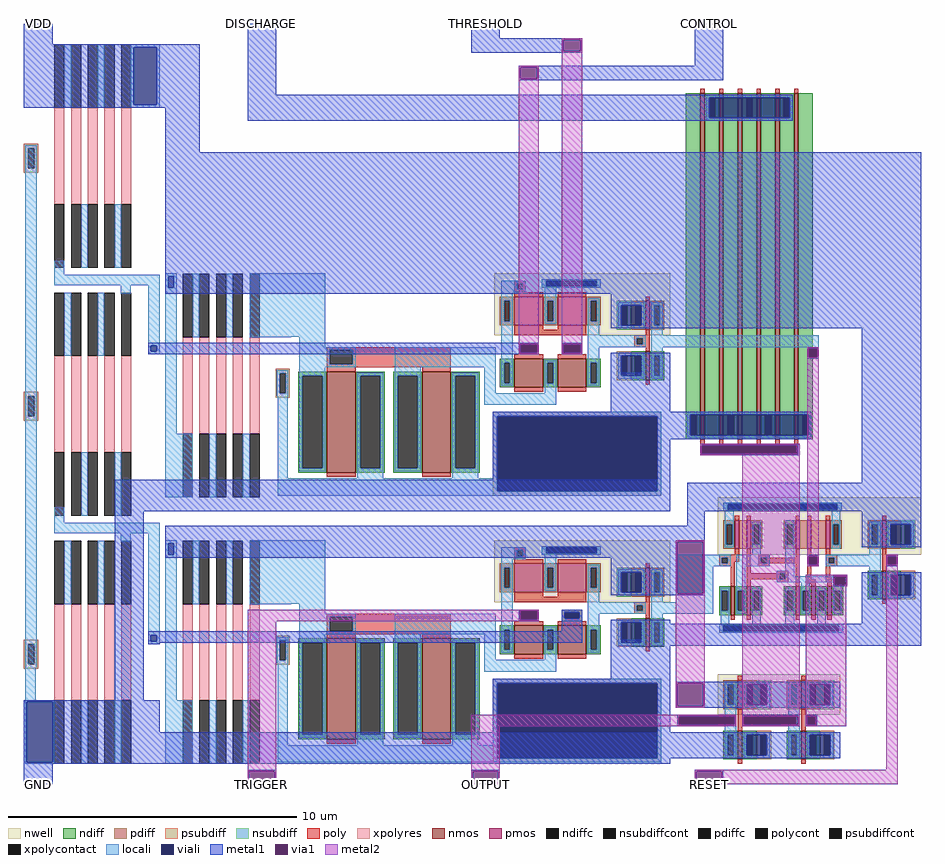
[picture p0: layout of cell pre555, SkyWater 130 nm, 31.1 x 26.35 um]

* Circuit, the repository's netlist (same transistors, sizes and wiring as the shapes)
* NGSPICE file created from pre555.ext - technology: sky130A

.subckt res100k bot top GND
X0 a_0_668# bot GND sky130_fd_pr__res_xhigh_po_0p35 l=3.5
X1 top a_348_n440# GND sky130_fd_pr__res_xhigh_po_0p35 l=3.5
X2 a_0_668# a_116_n440# GND sky130_fd_pr__res_xhigh_po_0p35 l=3.5
X3 a_232_668# a_116_n440# GND sky130_fd_pr__res_xhigh_po_0p35 l=3.5
X4 a_232_668# a_348_n440# GND sky130_fd_pr__res_xhigh_po_0p35 l=3.5
.ends

.subckt vdiv v1t v2t VDD GND
Xres100k_0[0] GND v1t GND res100k
Xres100k_0[1] v1t v2t GND res100k
Xres100k_0[2] v2t VDD GND res100k
.ends

.subckt inverter a y VDD GND
X0 y a VDD VDD sky130_fd_pr__pfet_01v8 ad=0.5 pd=3 as=0.5 ps=3 w=1 l=0.15
X1 y a GND GND sky130_fd_pr__nfet_01v8 ad=0.5 pd=3 as=0.5 ps=3 w=1 l=0.15
.ends

.subckt comp inn inp inverter_0/y VDD GND
Xinverter_0 inverter_0/a inverter_0/y VDD GND inverter
Xres100k_0 res100k_0/bot VDD GND res100k
X0 VDD a_2200_760# a_2200_760# VDD sky130_fd_pr__pfet_01v8 ad=0.25 pd=1.5 as=0.5 ps=3 w=1 l=1
X1 GND res100k_0/bot a_1460_170# GND sky130_fd_pr__nfet_01v8 ad=3.5 pd=9 as=3.5 ps=9 w=3.5 l=1
X2 inverter_0/a a_2200_760# VDD VDD sky130_fd_pr__pfet_01v8 ad=0.5 pd=3 as=0.25 ps=1.5 w=1 l=1
X3 GND res100k_0/bot res100k_0/bot GND sky130_fd_pr__nfet_01v8 ad=3.5 pd=9 as=3.5 ps=9 w=3.5 l=1
X4 a_1460_170# inn a_2200_760# GND sky130_fd_pr__nfet_01v8 ad=0.25 pd=1.5 as=0.5 ps=3 w=1 l=1
X5 inverter_0/a inp a_1460_170# GND sky130_fd_pr__nfet_01v8 ad=0.5 pd=3 as=0.25 ps=1.5 w=1 l=1
.ends

.subckt sr_latch s r0 r1 q VDD GND
X0 q a_30_n110# GND GND sky130_fd_pr__nfet_01v8 ad=0.2 pd=1.4 as=0.4 ps=2.8 w=1 l=0.15
X1 GND r0 q GND sky130_fd_pr__nfet_01v8 ad=0.2 pd=1.4 as=0.2 ps=1.4 w=1 l=0.15
X2 a_30_n110# s GND GND sky130_fd_pr__nfet_01v8 ad=0.2 pd=1.4 as=0.4 ps=2.8 w=1 l=0.15
X3 a_30_n110# q a_60_350# VDD sky130_fd_pr__pfet_01v8 ad=0.4 pd=2.8 as=0.125 ps=1.25 w=1 l=0.15
X4 a_480_350# a_30_n110# q VDD sky130_fd_pr__pfet_01v8 ad=0.125 pd=1.25 as=0.4 ps=2.8 w=1 l=0.15
X5 a_60_350# s VDD VDD sky130_fd_pr__pfet_01v8 ad=0.125 pd=1.25 as=0.4 ps=2.8 w=1 l=0.15
X6 VDD r1 a_560_350# VDD sky130_fd_pr__pfet_01v8 ad=0.4 pd=2.8 as=0.25 ps=1.5 w=1 l=0.15
X7 GND q a_30_n110# GND sky130_fd_pr__nfet_01v8 ad=0.4 pd=2.8 as=0.2 ps=1.4 w=1 l=0.15
X8 q r1 GND GND sky130_fd_pr__nfet_01v8 ad=0.4 pd=2.8 as=0.2 ps=1.4 w=1 l=0.15
X9 a_560_350# r0 a_480_350# VDD sky130_fd_pr__pfet_01v8 ad=0.25 pd=1.5 as=0.125 ps=1.25 w=1 l=0.15
.ends

*.subckt pre555 GND TRIGGER OUTPUT RESET VDD DISCHARGE THRESHOLD CONTROL
Xvdiv_0 vdiv_0/v1t CONTROL VDD GND vdiv
Xinverter_0 sr_latch_0/q inverter_1/a VDD GND inverter
Xinverter_1 inverter_1/a OUTPUT VDD GND inverter
Xcomp_0 TRIGGER vdiv_0/v1t sr_latch_0/s VDD GND comp
Xinverter_2 RESET inverter_2/y VDD GND inverter
Xcomp_1 CONTROL THRESHOLD sr_latch_0/r0 VDD GND comp
Xsr_latch_0 sr_latch_0/s sr_latch_0/r0 inverter_2/y sr_latch_0/q VDD GND sr_latch
X0 DISCHARGE inverter_1/a GND GND sky130_fd_pr__nfet_01v8 ad=3 pd=12.5 as=3 ps=12.5 w=12 l=0.15
X1 GND inverter_1/a DISCHARGE GND sky130_fd_pr__nfet_01v8 ad=3 pd=12.5 as=3 ps=12.5 w=12 l=0.15
X2 GND inverter_1/a DISCHARGE GND sky130_fd_pr__nfet_01v8 ad=3 pd=12.5 as=3 ps=12.5 w=12 l=0.15
X3 DISCHARGE inverter_1/a GND GND sky130_fd_pr__nfet_01v8 ad=3 pd=12.5 as=6 ps=25 w=12 l=0.15
X4 GND inverter_1/a DISCHARGE GND sky130_fd_pr__nfet_01v8 ad=6 pd=25 as=3 ps=12.5 w=12 l=0.15
X5 DISCHARGE inverter_1/a GND GND sky130_fd_pr__nfet_01v8 ad=3 pd=12.5 as=3 ps=12.5 w=12 l=0.15
*.ends

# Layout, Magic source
magic
tech sky130A
<< nwell >>
rect 2855 835 3110 925
rect 2855 725 2910 835
rect 2405 170 2830 310
<< nmos >>
rect 2345 1125 2360 2325
rect 2410 1125 2425 2325
rect 2475 1125 2490 2325
rect 2540 1125 2555 2325
rect 2605 1125 2620 2325
rect 2670 1125 2685 2325
<< ndiff >>
rect 2295 1210 2345 2325
rect 2295 1140 2310 1210
rect 2330 1140 2345 1210
rect 2295 1125 2345 1140
rect 2360 2310 2410 2325
rect 2360 2240 2375 2310
rect 2395 2240 2410 2310
rect 2360 1125 2410 2240
rect 2425 1210 2475 2325
rect 2425 1140 2440 1210
rect 2460 1140 2475 1210
rect 2425 1125 2475 1140
rect 2490 2310 2540 2325
rect 2490 2240 2505 2310
rect 2525 2240 2540 2310
rect 2490 1125 2540 2240
rect 2555 1210 2605 2325
rect 2555 1140 2570 1210
rect 2590 1140 2605 1210
rect 2555 1125 2605 1140
rect 2620 2310 2670 2325
rect 2620 2240 2635 2310
rect 2655 2240 2670 2310
rect 2620 1125 2670 2240
rect 2685 1210 2735 2325
rect 2685 1140 2700 1210
rect 2720 1140 2735 1210
rect 2685 1125 2735 1140
<< ndiffc >>
rect 2310 1140 2330 1210
rect 2375 2240 2395 2310
rect 2440 1140 2460 1210
rect 2505 2240 2525 2310
rect 2570 1140 2590 1210
rect 2635 2240 2655 2310
rect 2700 1140 2720 1210
<< poly >>
rect 2345 2325 2360 2340
rect 2410 2325 2425 2340
rect 2475 2325 2490 2340
rect 2540 2325 2555 2340
rect 2605 2325 2620 2340
rect 2670 2325 2685 2340
rect 2345 1110 2360 1125
rect 2410 1110 2425 1125
rect 2475 1110 2490 1125
rect 2540 1110 2555 1125
rect 2605 1110 2620 1125
rect 2670 1110 2685 1125
rect 2345 1100 2685 1110
rect 2345 1080 2355 1100
rect 2675 1080 2685 1100
rect 2345 1070 2685 1080
<< polycont >>
rect 2355 1080 2675 1100
<< locali >>
rect 2365 2310 2665 2320
rect 2365 2240 2375 2310
rect 2655 2240 2665 2310
rect 2365 2230 2665 2240
rect 430 1450 470 1695
rect 430 1430 440 1450
rect 460 1430 470 1450
rect 2240 1445 2755 1485
rect 2715 1435 2755 1445
rect 430 1420 470 1430
rect 2715 1415 2725 1435
rect 2745 1415 2755 1435
rect 2715 1405 2755 1415
rect 2300 1210 2730 1220
rect 2300 1140 2310 1210
rect 2720 1140 2730 1210
rect 2300 1130 2730 1140
rect 2345 1100 2685 1110
rect 2345 1080 2355 1100
rect 2675 1080 2685 1100
rect 2345 1070 2685 1080
rect 430 445 470 835
rect 2260 685 2410 725
rect 2820 685 2905 725
rect 2260 560 2390 685
rect 2805 645 2855 655
rect 2805 625 2815 645
rect 2845 625 2855 645
rect 2805 615 2855 625
rect 2240 520 2390 560
rect 430 425 440 445
rect 460 425 470 445
rect 430 415 470 425
rect 2265 160 2405 170
rect 2530 160 2625 170
rect 2265 140 2275 160
rect 2265 130 2405 140
rect 2530 130 2625 140
<< viali >>
rect 2375 2240 2395 2310
rect 2395 2240 2505 2310
rect 2505 2240 2525 2310
rect 2525 2240 2635 2310
rect 2635 2240 2655 2310
rect 440 1430 460 1450
rect 1725 1430 1775 1450
rect 1875 1430 1925 1450
rect 2725 1415 2745 1435
rect 2310 1140 2330 1210
rect 2330 1140 2440 1210
rect 2440 1140 2460 1210
rect 2460 1140 2570 1210
rect 2570 1140 2590 1210
rect 2590 1140 2700 1210
rect 2700 1140 2720 1210
rect 2355 1080 2675 1100
rect 2725 695 2745 715
rect 3000 695 3020 715
rect 2815 625 2845 645
rect 1725 505 1775 525
rect 1875 505 1925 525
rect 440 425 460 445
rect 2275 140 2460 160
rect 2500 140 2675 160
rect 2720 140 2740 160
<< metal1 >>
rect 0 2495 100 2565
rect 465 2275 610 2495
rect 490 2120 610 2275
rect 775 2320 875 2565
rect 1550 2515 1650 2565
rect 1550 2510 1935 2515
rect 1550 2470 1870 2510
rect 1930 2470 1935 2510
rect 1550 2465 1935 2470
rect 2325 2420 2425 2565
rect 1715 2415 2425 2420
rect 1715 2375 1720 2415
rect 1780 2375 2425 2415
rect 1715 2370 2425 2375
rect 775 2310 2665 2320
rect 775 2240 2375 2310
rect 2655 2240 2665 2310
rect 775 2230 2665 2240
rect 490 1630 3110 2120
rect 2240 1510 3110 1630
rect 430 1455 1785 1460
rect 430 1450 1720 1455
rect 430 1430 440 1450
rect 460 1430 1720 1450
rect 430 1425 1720 1430
rect 1780 1425 1785 1455
rect 430 1420 1785 1425
rect 1865 1455 1935 1460
rect 1865 1425 1870 1455
rect 1930 1425 1935 1455
rect 1865 1420 1935 1425
rect 2715 1440 2755 1445
rect 2715 1410 2720 1440
rect 2750 1410 2755 1440
rect 2715 1405 2755 1410
rect 2225 1210 2730 1220
rect 2225 1140 2310 1210
rect 2720 1140 2730 1210
rect 2225 1125 2730 1140
rect 2345 1105 2685 1110
rect 2345 1075 2350 1105
rect 2680 1075 2685 1105
rect 2345 1070 2685 1075
rect 315 875 2240 985
rect 2905 975 3110 1510
rect 2300 875 3110 975
rect 315 220 415 875
rect 2300 825 2360 875
rect 2905 835 3110 875
rect 490 770 2360 825
rect 490 715 2265 770
rect 2240 590 2265 715
rect 2355 590 2360 770
rect 2715 720 2755 725
rect 2715 690 2720 720
rect 2750 690 2755 720
rect 2715 685 2755 690
rect 2990 720 3030 725
rect 2990 690 2995 720
rect 3025 690 3030 720
rect 2990 685 3030 690
rect 2805 650 2855 655
rect 2805 620 2810 650
rect 2850 620 2855 650
rect 2805 615 2855 620
rect 2240 585 2360 590
rect 1715 530 1785 535
rect 1715 500 1720 530
rect 1780 500 1785 530
rect 1715 495 1785 500
rect 1865 525 1935 535
rect 1865 505 1875 525
rect 1925 505 1935 525
rect 1865 460 1935 505
rect 2905 485 3110 580
rect 430 445 1935 460
rect 430 425 440 445
rect 460 425 1935 445
rect 430 420 1935 425
rect 430 415 470 420
rect 2240 410 3110 485
rect 2260 280 2415 285
rect 2260 200 2265 280
rect 2355 200 2415 280
rect 2260 195 2415 200
rect 2610 195 2625 285
rect 2265 165 2470 170
rect 2265 135 2270 165
rect 2465 135 2470 165
rect 2265 130 2470 135
rect 2490 165 2690 170
rect 2490 135 2495 165
rect 2685 135 2690 165
rect 2490 130 2690 135
rect 2710 165 2750 170
rect 2710 135 2715 165
rect 2745 135 2750 165
rect 2710 130 2750 135
rect 455 60 2405 110
rect 445 20 2405 60
rect 2610 20 2625 110
rect 445 0 2240 20
rect 0 -70 100 0
rect 775 -25 875 -20
rect 775 -65 780 -25
rect 870 -65 875 -25
rect 775 -70 875 -65
rect 1550 -25 1650 -20
rect 1550 -65 1555 -25
rect 1645 -65 1650 -25
rect 1550 -70 1650 -65
rect 2325 -25 2425 -20
rect 2325 -65 2330 -25
rect 2420 -65 2425 -25
rect 2325 -70 2425 -65
<< via1 >>
rect 1870 2470 1930 2510
rect 1720 2375 1780 2415
rect 1720 1450 1780 1455
rect 1720 1430 1725 1450
rect 1725 1430 1775 1450
rect 1775 1430 1780 1450
rect 1720 1425 1780 1430
rect 1870 1450 1930 1455
rect 1870 1430 1875 1450
rect 1875 1430 1925 1450
rect 1925 1430 1930 1450
rect 1870 1425 1930 1430
rect 2720 1435 2750 1440
rect 2720 1415 2725 1435
rect 2725 1415 2745 1435
rect 2745 1415 2750 1435
rect 2720 1410 2750 1415
rect 2350 1100 2680 1105
rect 2350 1080 2355 1100
rect 2355 1080 2675 1100
rect 2675 1080 2680 1100
rect 2350 1075 2680 1080
rect 2265 590 2355 770
rect 2720 715 2750 720
rect 2720 695 2725 715
rect 2725 695 2745 715
rect 2745 695 2750 715
rect 2720 690 2750 695
rect 2995 715 3025 720
rect 2995 695 3000 715
rect 3000 695 3020 715
rect 3020 695 3025 715
rect 2995 690 3025 695
rect 2810 645 2850 650
rect 2810 625 2815 645
rect 2815 625 2845 645
rect 2845 625 2850 645
rect 2810 620 2850 625
rect 1720 525 1780 530
rect 1720 505 1725 525
rect 1725 505 1775 525
rect 1775 505 1780 525
rect 1720 500 1780 505
rect 2265 200 2355 280
rect 2270 160 2465 165
rect 2270 140 2275 160
rect 2275 140 2460 160
rect 2460 140 2465 160
rect 2270 135 2465 140
rect 2495 160 2685 165
rect 2495 140 2500 160
rect 2500 140 2675 160
rect 2675 140 2685 160
rect 2495 135 2685 140
rect 2715 160 2745 165
rect 2715 140 2720 160
rect 2720 140 2740 160
rect 2740 140 2745 160
rect 2715 135 2745 140
rect 780 -65 870 -25
rect 1555 -65 1645 -25
rect 2330 -65 2420 -25
<< metal2 >>
rect 1865 2510 1935 2515
rect 1865 2470 1870 2510
rect 1930 2470 1935 2510
rect 1715 2415 1785 2420
rect 1715 2375 1720 2415
rect 1780 2375 1785 2415
rect 1715 1455 1785 2375
rect 1715 1425 1720 1455
rect 1780 1425 1785 1455
rect 1715 1420 1785 1425
rect 1865 1455 1935 2470
rect 1865 1425 1870 1455
rect 1930 1425 1935 1455
rect 1865 1420 1935 1425
rect 2715 1440 2755 1445
rect 2715 1410 2720 1440
rect 2750 1410 2755 1440
rect 2345 1105 2690 1110
rect 2345 1075 2350 1105
rect 2680 1075 2690 1105
rect 2345 1070 2690 1075
rect 2260 770 2360 775
rect 2260 590 2265 770
rect 2355 590 2360 770
rect 775 530 1785 535
rect 775 500 1720 530
rect 1780 500 1785 530
rect 775 495 1785 500
rect 775 -25 875 495
rect 2260 280 2360 590
rect 2260 200 2265 280
rect 2355 200 2360 280
rect 2260 195 2360 200
rect 775 -65 780 -25
rect 870 -65 875 -25
rect 775 -70 875 -65
rect 1550 165 2470 170
rect 1550 135 2270 165
rect 2465 135 2470 165
rect 1550 130 2470 135
rect 2490 165 2690 1070
rect 2715 720 2755 1410
rect 2715 690 2720 720
rect 2750 690 2755 720
rect 2715 685 2755 690
rect 2990 720 3030 725
rect 2990 690 2995 720
rect 3025 690 3030 720
rect 2490 135 2495 165
rect 2685 135 2690 165
rect 2490 130 2690 135
rect 2710 650 2855 655
rect 2710 620 2810 650
rect 2850 620 2855 650
rect 2710 615 2855 620
rect 2710 165 2850 615
rect 2710 135 2715 165
rect 2745 135 2850 165
rect 2710 130 2850 135
rect 1550 -25 1650 130
rect 2990 -20 3030 690
rect 1550 -65 1555 -25
rect 1645 -65 1650 -25
rect 1550 -70 1650 -65
rect 2325 -25 3030 -20
rect 2325 -65 2330 -25
rect 2420 -65 3030 -25
rect 2325 -70 3030 -65
use comp  comp_0
transform 1 0 550 0 1 0
box -60 0 1690 775
use comp  comp_1
transform 1 0 550 0 1 925
box -60 0 1690 775
use inverter  inverter_0
transform -1 0 2710 0 1 35
box -120 -35 85 275
use inverter  inverter_1
transform -1 0 2490 0 1 35
box -120 -35 85 275
use inverter  inverter_2
transform -1 0 2990 0 1 590
box -120 -35 85 275
use sr_latch  sr_latch_0
transform 1 0 2450 0 1 570
box -45 -115 405 355
use vdiv  vdiv_0
transform 1 0 0 0 1 0
box 0 0 470 2495
<< labels >>
rlabel metal1 0 -70 100 -70 5 GND
port 1 s
rlabel metal1 775 -70 875 -70 5 TRIGGER
port 2 s
rlabel metal1 1550 -70 1650 -70 5 OUTPUT
port 3 s
rlabel metal1 2325 -70 2425 -70 5 RESET
port 4 s
rlabel metal1 0 2565 100 2565 1 VDD
port 5 n
rlabel metal1 775 2565 875 2565 1 DISCHARGE
port 6 n
rlabel metal1 1550 2565 1650 2565 1 THRESHOLD
port 7 n
rlabel metal1 2325 2565 2425 2565 1 CONTROL
port 8 n
<< end >>

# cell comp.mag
magic
tech sky130A
<< nwell >>
rect 1080 675 1690 775
rect 1080 560 1485 675
<< nmos >>
rect 500 85 600 435
rect 830 85 930 435
rect 1150 380 1250 480
rect 1300 380 1400 480
<< pmos >>
rect 1150 595 1250 695
rect 1300 595 1400 695
<< ndiff >>
rect 1100 465 1150 480
rect 400 420 500 435
rect 400 100 415 420
rect 485 100 500 420
rect 400 85 500 100
rect 600 420 700 435
rect 600 100 615 420
rect 685 100 700 420
rect 600 85 700 100
rect 730 420 830 435
rect 730 100 745 420
rect 815 100 830 420
rect 730 85 830 100
rect 930 420 1030 435
rect 930 100 945 420
rect 1015 100 1030 420
rect 1100 395 1115 465
rect 1135 395 1150 465
rect 1100 380 1150 395
rect 1250 465 1300 480
rect 1250 395 1265 465
rect 1285 395 1300 465
rect 1250 380 1300 395
rect 1400 465 1450 480
rect 1400 395 1415 465
rect 1435 395 1450 465
rect 1400 380 1450 395
rect 930 85 1030 100
<< pdiff >>
rect 1100 680 1150 695
rect 1100 610 1115 680
rect 1135 610 1150 680
rect 1100 595 1150 610
rect 1250 680 1300 695
rect 1250 610 1265 680
rect 1285 610 1300 680
rect 1250 595 1300 610
rect 1400 680 1450 695
rect 1400 610 1415 680
rect 1435 610 1450 680
rect 1400 595 1450 610
<< ndiffc >>
rect 415 100 485 420
rect 615 100 685 420
rect 745 100 815 420
rect 945 100 1015 420
rect 1115 395 1135 465
rect 1265 395 1285 465
rect 1415 395 1435 465
<< pdiffc >>
rect 1115 610 1135 680
rect 1265 610 1285 680
rect 1415 610 1435 680
<< psubdiff >>
rect 1075 280 1660 295
rect 1075 20 1090 280
rect 1645 20 1660 280
rect 1075 5 1660 20
<< nsubdiff >>
rect 1245 750 1450 755
rect 1245 730 1260 750
rect 1435 730 1450 750
rect 1245 725 1450 730
<< psubdiffcont >>
rect 1090 20 1645 280
<< nsubdiffcont >>
rect 1260 730 1435 750
<< poly >>
rect 1150 740 1190 750
rect 1150 720 1160 740
rect 1180 720 1190 740
rect 1150 710 1190 720
rect 1150 695 1250 710
rect 1300 695 1400 710
rect 1150 580 1250 595
rect 1300 580 1400 595
rect 1150 560 1400 580
rect 1165 525 1235 535
rect 500 510 930 520
rect 500 460 510 510
rect 590 460 930 510
rect 1165 505 1175 525
rect 1225 505 1235 525
rect 1165 495 1235 505
rect 1315 525 1385 535
rect 1315 505 1325 525
rect 1375 505 1385 525
rect 1315 495 1385 505
rect 1150 480 1250 495
rect 1300 480 1400 495
rect 500 450 930 460
rect 500 435 600 450
rect 830 435 930 450
rect 1150 365 1250 380
rect 1300 365 1400 380
rect 500 70 600 85
rect 830 70 930 85
<< polycont >>
rect 1160 720 1180 740
rect 510 460 590 510
rect 1175 505 1225 525
rect 1325 505 1375 525
<< locali >>
rect -60 765 -20 775
rect -60 725 -50 765
rect -30 725 -20 765
rect -60 220 -20 725
rect 232 555 495 775
rect 1245 750 1450 755
rect 232 554 375 555
rect 405 520 495 555
rect 1105 740 1190 750
rect 1105 720 1160 740
rect 1180 720 1190 740
rect 1245 730 1260 750
rect 1435 730 1450 750
rect 1245 725 1450 730
rect 1105 710 1190 720
rect 1105 680 1145 710
rect 1105 610 1115 680
rect 1135 610 1145 680
rect 405 510 600 520
rect 405 460 510 510
rect 590 460 600 510
rect 405 450 600 460
rect 735 450 1085 520
rect 405 420 495 450
rect -60 0 35 220
rect 330 65 365 350
rect 405 100 415 420
rect 485 100 495 420
rect 405 90 495 100
rect 605 420 695 430
rect 605 100 615 420
rect 685 100 695 420
rect 605 65 695 100
rect 735 420 825 450
rect 735 100 745 420
rect 815 100 825 420
rect 735 90 825 100
rect 935 420 1025 430
rect 935 100 945 420
rect 1015 100 1025 420
rect 1045 360 1085 450
rect 1105 465 1145 610
rect 1255 680 1295 725
rect 1255 610 1265 680
rect 1285 610 1295 680
rect 1255 600 1295 610
rect 1405 680 1445 690
rect 1405 610 1415 680
rect 1435 610 1445 680
rect 1405 560 1445 610
rect 1165 525 1235 535
rect 1165 505 1175 525
rect 1225 505 1235 525
rect 1165 495 1235 505
rect 1315 525 1385 535
rect 1315 505 1325 525
rect 1375 505 1385 525
rect 1315 495 1385 505
rect 1405 520 1570 560
rect 1105 395 1115 465
rect 1135 395 1145 465
rect 1105 385 1145 395
rect 1255 465 1295 475
rect 1255 395 1265 465
rect 1285 395 1295 465
rect 1255 360 1295 395
rect 1405 465 1445 520
rect 1405 395 1415 465
rect 1435 395 1445 465
rect 1405 385 1445 395
rect 1045 320 1295 360
rect 935 65 1025 100
rect 1075 280 1660 295
rect 1075 65 1090 280
rect 330 20 1090 65
rect 1645 20 1660 280
rect 330 5 1660 20
<< viali >>
rect -50 725 -30 765
rect 1260 730 1435 750
rect 1090 20 1645 280
<< metal1 >>
rect -60 765 1690 775
rect -60 725 -50 765
rect -30 750 1690 765
rect -30 730 1260 750
rect 1435 730 1690 750
rect -30 725 1690 730
rect -60 715 1690 725
rect 1485 675 1690 715
rect 1485 295 1690 430
rect 1075 280 1690 295
rect 1075 60 1090 280
rect -60 20 1090 60
rect 1645 20 1690 280
rect -60 0 1690 20
use inverter  inverter_0
transform 1 0 1605 0 1 425
box -120 -35 85 275
use res100k  res100k_0
transform -1 0 267 0 -1 554
box -105 -220 267 554
<< labels >>
rlabel metal1 -60 715 1690 775 1 VDD
rlabel metal1 -60 0 1690 60 5 GND
rlabel locali 1165 495 1235 535 1 inn
port 1 n
rlabel locali 1315 495 1385 535 1 inp
port 2 n
rlabel space 1690 520 1690 560 3 out
<< end >>

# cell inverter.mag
magic
tech sky130A
<< nwell >>
rect -120 135 85 275
<< nmos >>
rect 0 -20 15 80
<< pmos >>
rect 0 155 15 255
<< ndiff >>
rect -50 65 0 80
rect -50 -5 -35 65
rect -15 -5 0 65
rect -50 -20 0 -5
rect 15 65 65 80
rect 15 -5 30 65
rect 50 -5 65 65
rect 15 -20 65 -5
<< pdiff >>
rect -50 240 0 255
rect -50 170 -35 240
rect -15 170 0 240
rect -50 155 0 170
rect 15 240 65 255
rect 15 170 30 240
rect 50 170 65 240
rect 15 155 65 170
<< ndiffc >>
rect -35 -5 -15 65
rect 30 -5 50 65
<< pdiffc >>
rect -35 170 -15 240
rect 30 170 50 240
<< psubdiff >>
rect -100 65 -50 80
rect -100 -5 -85 65
rect -65 -5 -50 65
rect -100 -20 -50 -5
<< nsubdiff >>
rect -100 240 -50 255
rect -100 170 -85 240
rect -65 170 -50 240
rect -100 155 -50 170
<< psubdiffcont >>
rect -85 -5 -65 65
<< nsubdiffcont >>
rect -85 170 -65 240
<< poly >>
rect 0 255 15 270
rect 0 135 15 155
rect -40 125 15 135
rect -40 105 -30 125
rect -10 105 15 125
rect -40 95 15 105
rect 0 80 15 95
rect 0 -35 15 -20
<< polycont >>
rect -30 105 -10 125
<< locali >>
rect -95 240 -5 250
rect -95 170 -85 240
rect -15 170 -5 240
rect -95 160 -5 170
rect 20 240 60 250
rect 20 170 30 240
rect 50 170 60 240
rect 20 135 60 170
rect -40 125 0 135
rect -40 105 -30 125
rect -10 105 0 125
rect -40 95 0 105
rect 20 95 85 135
rect -95 65 -5 75
rect -95 -5 -85 65
rect -15 -5 -5 65
rect -95 -15 -5 -5
rect 20 65 60 95
rect 20 -5 30 65
rect 50 -5 60 65
rect 20 -15 60 -5
<< viali >>
rect -85 170 -65 240
rect -65 170 -35 240
rect -35 170 -15 240
rect -85 -5 -65 65
rect -65 -5 -35 65
rect -35 -5 -15 65
<< metal1 >>
rect -120 240 85 250
rect -120 170 -85 240
rect -15 170 85 240
rect -120 160 85 170
rect -120 65 85 75
rect -120 -5 -85 65
rect -15 -5 85 65
rect -120 -15 85 -5
<< labels >>
rlabel locali 85 95 85 135 3 y
port 2 e
rlabel metal1 -120 160 85 250 1 VDD
rlabel metal1 -120 -15 85 75 5 GND
rlabel locali -40 95 0 135 7 a
port 1 w
<< end >>

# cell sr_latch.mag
magic
tech sky130A
<< nwell >>
rect -45 155 405 355
<< nmos >>
rect 0 -55 15 45
rect 55 -55 70 45
rect 225 -55 240 45
rect 280 -55 295 45
rect 335 -55 350 45
<< pmos >>
rect 15 175 30 275
rect 55 175 70 275
rect 225 175 240 275
rect 265 175 280 275
rect 330 175 345 275
<< ndiff >>
rect -40 30 0 45
rect -40 -40 -30 30
rect -10 -40 0 30
rect -40 -55 0 -40
rect 15 30 55 45
rect 15 -40 25 30
rect 45 -40 55 30
rect 15 -55 55 -40
rect 70 30 110 45
rect 70 -40 80 30
rect 100 -40 110 30
rect 70 -55 110 -40
rect 185 30 225 45
rect 185 -40 195 30
rect 215 -40 225 30
rect 185 -55 225 -40
rect 240 30 280 45
rect 240 -40 250 30
rect 270 -40 280 30
rect 240 -55 280 -40
rect 295 30 335 45
rect 295 -40 305 30
rect 325 -40 335 30
rect 295 -55 335 -40
rect 350 30 390 45
rect 350 -40 360 30
rect 380 -40 390 30
rect 350 -55 390 -40
<< pdiff >>
rect -25 260 15 275
rect -25 190 -15 260
rect 5 190 15 260
rect -25 175 15 190
rect 30 175 55 275
rect 70 260 110 275
rect 70 190 80 260
rect 100 190 110 260
rect 70 175 110 190
rect 185 260 225 275
rect 185 190 195 260
rect 215 190 225 260
rect 185 175 225 190
rect 240 175 265 275
rect 280 175 330 275
rect 345 260 385 275
rect 345 190 355 260
rect 375 190 385 260
rect 345 175 385 190
<< ndiffc >>
rect -30 -40 -10 30
rect 25 -40 45 30
rect 80 -40 100 30
rect 195 -40 215 30
rect 250 -40 270 30
rect 305 -40 325 30
rect 360 -40 380 30
<< pdiffc >>
rect -15 190 5 260
rect 80 190 100 260
rect 195 190 215 260
rect 355 190 375 260
<< psubdiff >>
rect -40 -90 390 -85
rect -40 -110 -25 -90
rect 375 -110 390 -90
rect -40 -115 390 -110
<< nsubdiff >>
rect -25 330 385 335
rect -25 310 -10 330
rect 370 310 385 330
rect -25 305 385 310
<< psubdiffcont >>
rect -25 -110 375 -90
<< nsubdiffcont >>
rect -10 310 370 330
<< poly >>
rect 15 275 30 290
rect 55 275 70 290
rect 225 275 240 290
rect 265 275 280 290
rect 330 275 345 290
rect 15 155 30 175
rect -40 145 30 155
rect -40 125 -30 145
rect -10 130 30 145
rect -10 125 15 130
rect -40 115 15 125
rect 0 45 15 115
rect 55 90 70 175
rect 95 145 135 155
rect 225 145 240 175
rect 95 125 105 145
rect 125 125 240 145
rect 95 115 135 125
rect 160 90 200 100
rect 55 70 170 90
rect 190 70 200 90
rect 55 45 70 70
rect 160 60 200 70
rect 225 45 240 125
rect 265 155 280 175
rect 330 155 345 175
rect 265 145 305 155
rect 265 125 275 145
rect 295 125 305 145
rect 265 115 305 125
rect 330 145 370 155
rect 330 125 340 145
rect 360 125 370 145
rect 330 115 370 125
rect 265 70 280 115
rect 330 75 345 115
rect 265 55 295 70
rect 330 60 350 75
rect 280 45 295 55
rect 335 45 350 60
rect 0 -70 15 -55
rect 55 -70 70 -55
rect 225 -70 240 -55
rect 280 -70 295 -55
rect 335 -70 350 -55
<< polycont >>
rect -30 125 -10 145
rect 105 125 125 145
rect 170 70 190 90
rect 275 125 295 145
rect 340 125 360 145
<< locali >>
rect -25 330 385 335
rect -25 310 -10 330
rect 370 310 385 330
rect -25 305 385 310
rect -20 260 10 305
rect -20 190 -15 260
rect 5 190 10 260
rect -20 180 10 190
rect 75 260 105 270
rect 75 190 80 260
rect 100 190 105 260
rect 75 155 105 190
rect 190 260 220 275
rect 190 190 195 260
rect 215 190 220 260
rect -40 145 0 155
rect -40 125 -30 145
rect -10 125 0 145
rect -40 115 0 125
rect 20 145 135 155
rect 20 125 105 145
rect 125 125 135 145
rect 20 115 135 125
rect -35 30 -5 40
rect -35 -40 -30 30
rect -10 -40 -5 30
rect -35 -85 -5 -40
rect 20 30 50 115
rect 190 100 220 190
rect 350 260 380 305
rect 350 190 355 260
rect 375 190 380 260
rect 350 175 380 190
rect 265 145 305 155
rect 265 125 275 145
rect 295 125 305 145
rect 265 115 305 125
rect 330 145 370 155
rect 330 125 340 145
rect 360 125 370 145
rect 330 115 370 125
rect 160 90 220 100
rect 160 70 170 90
rect 190 80 220 90
rect 190 70 405 80
rect 160 60 405 70
rect 20 -40 25 30
rect 45 -40 50 30
rect 20 -50 50 -40
rect 75 30 105 40
rect 75 -40 80 30
rect 100 -40 105 30
rect 75 -85 105 -40
rect 190 30 220 40
rect 190 -40 195 30
rect 215 -40 220 30
rect 190 -85 220 -40
rect 245 30 275 60
rect 245 -40 250 30
rect 270 -40 275 30
rect 245 -50 275 -40
rect 300 30 330 40
rect 300 -40 305 30
rect 325 -40 330 30
rect 300 -85 330 -40
rect 355 30 385 60
rect 355 -40 360 30
rect 380 -40 385 30
rect 355 -50 385 -40
rect -40 -90 390 -85
rect -40 -110 -25 -90
rect 375 -110 390 -90
rect -40 -115 390 -110
<< viali >>
rect -10 310 370 330
rect -25 -110 375 -90
<< metal1 >>
rect -45 330 405 335
rect -45 310 -10 330
rect 370 310 405 330
rect -45 305 405 310
rect -45 -90 405 -85
rect -45 -110 -25 -90
rect 375 -110 405 -90
rect -45 -115 405 -110
<< labels >>
rlabel locali -40 115 0 155 7 s
port 1 w
rlabel locali 405 60 405 80 3 q
port 4 e
rlabel locali 265 115 305 155 7 r0
port 2 w
rlabel locali 330 115 370 155 3 r1
port 3 e
rlabel metal1 -45 305 370 335 1 VDD
rlabel metal1 -45 -115 370 -85 5 GND
<< end >>

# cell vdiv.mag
magic
tech sky130A
<< locali >>
rect 370 2485 470 2495
rect 370 2285 380 2485
rect 460 2285 470 2485
rect 370 2275 470 2285
rect 5 335 45 2145
rect 105 1695 140 1745
rect 105 1660 470 1695
rect 335 1630 370 1660
rect 105 835 140 890
rect 105 800 470 835
rect 335 770 370 800
rect 5 220 40 335
rect 5 215 105 220
rect 5 5 10 215
rect 100 5 105 215
rect 5 0 105 5
<< viali >>
rect 380 2285 460 2485
rect 10 5 100 215
<< metal1 >>
rect 0 2485 470 2495
rect 0 2285 380 2485
rect 460 2285 470 2485
rect 0 2275 470 2285
rect 0 215 470 220
rect 0 5 10 215
rect 100 5 470 215
rect 0 0 470 5
use res100k  res100k_0
array 0 0 0 0 2 860
transform 1 0 105 0 1 220
box -105 -220 267 554
<< labels >>
rlabel metal1 0 0 470 220 5 GND
rlabel metal1 0 2275 470 2495 1 VDD
rlabel locali 470 1660 470 1695 3 v2t
port 2 e
rlabel locali 470 800 470 835 3 v1t
port 1 e
<< end >>

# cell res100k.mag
magic
tech sky130A
<< psubdiff >>
rect -105 195 -55 210
rect -105 125 -90 195
rect -70 125 -55 195
rect -105 110 -55 125
<< psubdiffcont >>
rect -90 125 -70 195
<< xpolycontact >>
rect 0 334 35 554
rect 0 -220 35 0
rect 58 334 93 554
rect 58 -220 93 0
rect 116 334 151 554
rect 116 -220 151 0
rect 174 334 209 554
rect 174 -220 209 0
rect 232 334 267 554
rect 232 -220 267 0
<< xpolyres >>
rect 0 0 35 334
rect 58 0 93 334
rect 116 0 151 334
rect 174 0 209 334
rect 232 0 267 334
<< locali >>
rect 35 334 58 554
rect 151 334 174 554
rect -100 195 -60 205
rect -100 125 -90 195
rect -70 125 -60 195
rect -100 115 -60 125
rect 93 -220 116 0
rect 209 -220 232 0
<< labels >>
rlabel locali -100 115 -60 205 5 GND
rlabel locali 0 -220 35 0 5 bot
port 1 s
rlabel locali 232 334 267 554 1 top
port 2 n
<< end >>
